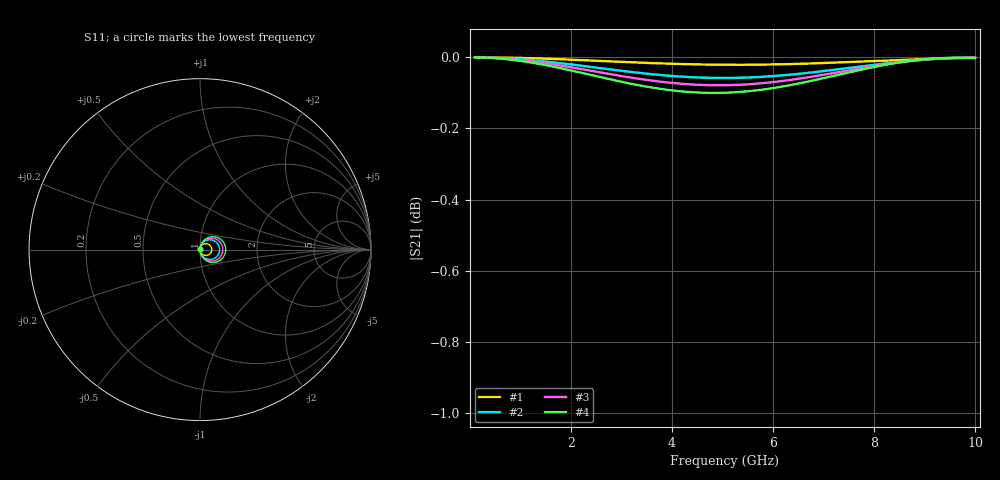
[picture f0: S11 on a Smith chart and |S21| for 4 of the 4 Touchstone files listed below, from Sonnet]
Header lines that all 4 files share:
! Sonnet Data File
! From: em Version : 19.52.2025
! From Project: CPW
! Data is De-embedded
!< HDATE 02/24/2026 12:38:38
!< MDATE 02/24/2026 12:38:38
!< PARAMS
!< END PARAMS
# GHZ S MA R 50.00000
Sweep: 100 MHz to 10 GHz
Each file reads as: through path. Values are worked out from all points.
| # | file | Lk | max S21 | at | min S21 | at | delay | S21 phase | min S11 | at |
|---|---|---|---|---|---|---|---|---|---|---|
| 1 | CPW_param1.s2p | 0 | 0.00 dB | 100 MHz | 0.0 dB | 5.276 GHz | 47.6 ps | -87 deg at 5.05 GHz | -53.7 dB | 100 MHz |
| 2 | CPW_param3.s2p | 0.4 | 0.00 dB | 100 MHz | -0.1 dB | 5.014 GHz | 49.8 ps | -91 deg at 5.05 GHz | -64.3 dB | 10 GHz |
| 3 | CPW_param4.s2p | 0.6000000000000001 | 0.00 dB | 100 MHz | -0.1 dB | 4.92 GHz | 50.7 ps | -92 deg at 5.05 GHz | -88.8 dB | 9.828 GHz |
| 4 | CPW_param5.s2p | 0.8 | 0.00 dB | 100 MHz | -0.1 dB | 4.834 GHz | 51.6 ps | -94 deg at 5.05 GHz | -85.2 dB | 9.66 GHz |
